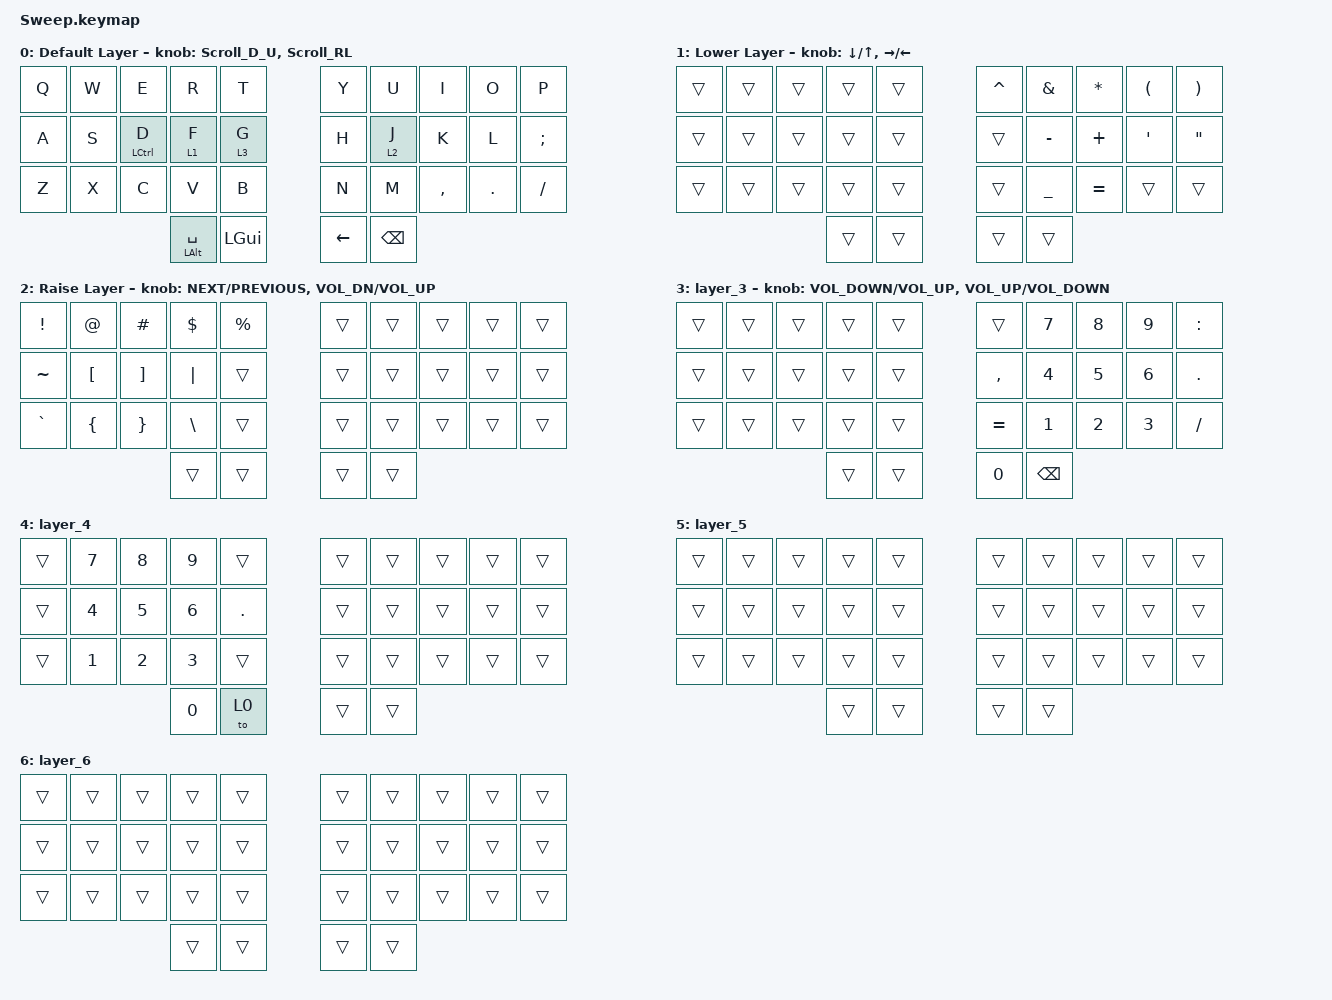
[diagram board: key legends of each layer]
/*
 * Copyright (c) 2020 The ZMK Contributors
 *
 * SPDX-License-Identifier: MIT
 */

#include <input/processors.dtsi>
#include <zephyr/dt-bindings/input/input-event-codes.h>
#include <dt-bindings/zmk/mouse.h>
#include <behaviors/mouse_keys.dtsi>
#include <behaviors.dtsi>
#include <dt-bindings/zmk/keys.h>
#include <dt-bindings/zmk/pointing.h>

#define ZMK_POINTING_DEFAULT_MOVE_VAL 1200  // 600
#define ZMK_POINTING_DEFAULT_SCRL_VAL 900   // mousescroll SPEED

&mmv_input_listener { input-processors = <&zip_xy_scaler 2 1>; };

&msc_input_listener { input-processors = <&zip_scroll_scaler 2 1>; };

&msc {
    acceleration-exponent = <1>;      // 0
    time-to-max-speed-ms = <100>;       // 300
    delay-ms = <0>;                   // 0
};

&mmv {
    time-to-max-speed-ms = <500>;
    acceleration-exponent = <1>;
    trigger-period-ms = <16>;
};

&soft_off {
    hold-time-ms = <3000>; // Only turn off it the key is held for 3 seconds or longer.
};

&mt {
    tapping-term-ms = <180>;
    flavor = "balanced";
};

&lt {
    tapping-term-ms = <200>;
    flavor = "balanced";
};

/ {
    behaviors {
        Scroll_D_U: Scroll_D_U {
            compatible = "zmk,behavior-sensor-rotate";
            label = "SCROLL_D_U";
            #sensor-binding-cells = <0>;
            bindings = <&msc SCRL_DOWN>, <&msc SCRL_UP>;

            tap-ms = <20>;
        };

        TD01: TD01 {
            compatible = "zmk,behavior-tap-dance";
            label = "TD01";
            #binding-cells = <0>;
            bindings = <&kp MINUS>, <&kp PERIOD>;
        };

        Scroll_U_D: Scroll_U_D {
            compatible = "zmk,behavior-sensor-rotate";
            label = "SCROLL_U_D";
            #sensor-binding-cells = <0>;
            bindings = <&msc SCRL_UP>, <&msc SCRL_DOWN>;

            tap-ms = <20>;
        };

        Scroll_LR: Scroll_LR {
            compatible = "zmk,behavior-sensor-rotate";
            label = "SCROLL_LR";
            #sensor-binding-cells = <0>;
            bindings = <&msc SCRL_LEFT>, <&msc SCRL_RIGHT>;

            tap-ms = <20>;
        };

        Scroll_RL: Scroll_RL {
            compatible = "zmk,behavior-sensor-rotate";
            label = "SCROLL_RL";
            #sensor-binding-cells = <0>;
            bindings = <&msc SCRL_RIGHT>, <&msc SCRL_LEFT>;

            tap-ms = <20>;
        };

        mouse_DU: mouse_DU {
            compatible = "zmk,behavior-sensor-rotate";
            label = "MOUSE_DU";
            #sensor-binding-cells = <0>;
            bindings = <&mmv MOVE_DOWN>, <&mmv MOVE_UP>;
        };

        mouse_RL: mouse_RL {
            compatible = "zmk,behavior-sensor-rotate";
            label = "MOUSE_RL";
            #sensor-binding-cells = <0>;
            bindings = <&mmv MOVE_RIGHT>, <&mmv MOVE_LEFT>;
        };
    };

    combos {
        compatible = "zmk,combos";

        enter {
            bindings = <&kp ENTER>;
            key-positions = <18 19>;
        };

        tab {
            bindings = <&kp TAB>;
            key-positions = <0 1>;
        };

        switch_win {
            bindings = <&kp LG(TAB)>;
            key-positions = <22 23>;
        };

        right_arrow {
            bindings = <&kp RIGHT_ARROW>;
            key-positions = <17 18>;
        };

        to4 {
            bindings = <&tog 4>;
            key-positions = <11 12 13>;
        };

        up {
            bindings = <&kp UP_ARROW>;
            key-positions = <16 17>;
        };

        switchnew {
            bindings = <&kp LG(GRAVE)>;
            key-positions = <23 24>;
        };

        down {
            bindings = <&kp DOWN>;
            key-positions = <26 27>;
        };

        esc {
            bindings = <&kp ESC>;
            key-positions = <0 1 2>;
        };

        caps {
            bindings = <&kp CAPSLOCK>;
            key-positions = <1 2 3>;
        };

        rshift {
            bindings = <&kp RIGHT_SHIFT>;
            key-positions = <29 28>;
        };

        lshift {
            bindings = <&kp LEFT_SHIFT>;
            key-positions = <20 21>;
        };
    };

    keymap {
        compatible = "zmk,keymap";

        default_layer {
            display-name = "Default Layer";
            bindings = <
&kp Q  &kp W  &kp E               &kp R               &kp T         &kp Y           &kp U     &kp I      &kp O    &kp P
&kp A  &kp S  &mt LEFT_CONTROL D  &lt 1 F             &lt 3 G       &kp H           &lt 2 J   &kp K      &kp L    &kp SEMI
&kp Z  &kp X  &kp C               &kp V               &kp B         &kp N           &kp M     &kp COMMA  &kp DOT  &kp SLASH
                                  &mt LEFT_ALT SPACE  &kp LEFT_GUI  &kp LEFT_ARROW  &kp BSPC
            >;

            sensor-bindings = <&Scroll_D_U>, <&Scroll_RL>;
        };

        lower_layer {
            display-name = "Lower Layer";
            bindings = <
&trans  &trans  &trans  &trans  &trans  &kp CARET  &kp AMPERSAND   &kp ASTERISK  &kp LEFT_PARENTHESIS  &kp RIGHT_PARENTHESIS
&trans  &trans  &trans  &trans  &trans  &trans     &kp MINUS       &kp PLUS      &kp SQT               &kp DOUBLE_QUOTES
&trans  &trans  &trans  &trans  &trans  &trans     &kp UNDERSCORE  &kp EQUAL     &trans                &trans
                        &trans  &trans  &trans     &trans
            >;

            sensor-bindings =
                <&inc_dec_kp DOWN UP_ARROW>,
                <&inc_dec_kp RIGHT LEFT>;
        };

        raise_layer {
            display-name = "Raise Layer";
            bindings = <
&kp EXCLAMATION  &kp AT_SIGN       &kp HASH           &kp DOLLAR     &kp PERCENT  &trans  &trans  &trans  &trans  &trans
&kp TILDE        &kp LEFT_BRACKET  &kp RIGHT_BRACKET  &kp PIPE       &trans       &trans  &trans  &trans  &trans  &trans
&kp GRAVE        &kp LEFT_BRACE    &kp RIGHT_BRACE    &kp BACKSLASH  &trans       &trans  &trans  &trans  &trans  &trans
                                                      &trans         &trans       &trans  &trans
            >;

            sensor-bindings =
                <&inc_dec_kp C_NEXT C_PREVIOUS>,
                <&inc_dec_kp C_VOL_DN C_VOL_UP>;
        };

        layer_3 {
            bindings = <
&trans  &trans  &trans  &trans  &trans  &trans        &kp NUMBER_7   &kp NUMBER_8  &kp NUMBER_9  &kp COLON
&trans  &trans  &trans  &trans  &trans  &kp COMMA     &kp NUMBER_4   &kp NUMBER_5  &kp NUMBER_6  &kp DOT
&trans  &trans  &trans  &trans  &trans  &kp EQUAL     &kp NUMBER_1   &kp NUMBER_2  &kp NUMBER_3  &kp SLASH
                        &trans  &trans  &kp NUMBER_0  &kp BACKSPACE
            >;

            sensor-bindings =
                <&inc_dec_kp C_VOLUME_DOWN C_VOLUME_UP>,
                <&inc_dec_kp C_VOLUME_UP C_VOLUME_DOWN>;
        };

        layer_4 {
            bindings = <
&trans  &kp NUMBER_7  &kp NUMBER_8  &kp NUMBER_9  &trans      &trans  &trans  &trans  &trans  &trans
&trans  &kp NUMBER_4  &kp NUMBER_5  &kp NUMBER_6  &kp PERIOD  &trans  &trans  &trans  &trans  &trans
&trans  &kp NUMBER_1  &kp NUMBER_2  &kp NUMBER_3  &trans      &trans  &trans  &trans  &trans  &trans
                                    &kp NUMBER_0  &to 0       &trans  &trans
            >;
        };

        layer_5 {
            bindings = <
&trans  &trans  &trans  &trans  &trans  &trans  &trans  &trans  &trans  &trans
&trans  &trans  &trans  &trans  &trans  &trans  &trans  &trans  &trans  &trans
&trans  &trans  &trans  &trans  &trans  &trans  &trans  &trans  &trans  &trans
                        &trans  &trans  &trans  &trans
            >;
        };

        layer_6 {
            bindings = <
&trans  &trans  &trans  &trans  &trans  &trans  &trans  &trans  &trans  &trans
&trans  &trans  &trans  &trans  &trans  &trans  &trans  &trans  &trans  &trans
&trans  &trans  &trans  &trans  &trans  &trans  &trans  &trans  &trans  &trans
                        &trans  &trans  &trans  &trans
            >;
        };
    };
};
